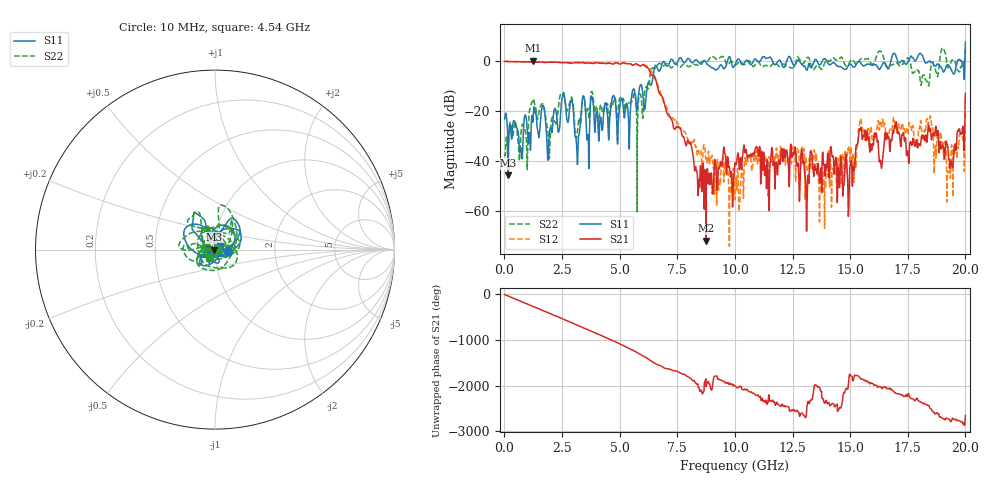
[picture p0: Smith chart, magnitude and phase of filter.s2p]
! .\\filter.s2p
! written by LeCroy Virtual Probe(tm)
! freq S11 S21
! S12 S22
# MHz S MA R 50.00
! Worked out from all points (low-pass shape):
!   2000 points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, 10 MHz to 20 GHz, reference 50 ohm
!   highest |S21| = 0.32 dB at 1.25 GHz (marker M1); lowest = -71.8 dB at 8.75 GHz (marker M2)
!   |S21| within 3 dB of the highest: start of sweep to 6.229 GHz
!   lowest |S11| = -45.6 dB at 170 MHz (marker M3), VSWR 1.01, Z = 49.5 + j0.0281 ohm
!   |S11| at or under -10 dB: start of sweep to 5.875 GHz; 5.962 GHz to 6.198 GHz (236.5 MHz wide, 3.89 % of centre)
!   |S22| runs from -60.2 to 8.4 dB; largest |S21 - S12| = 0.18
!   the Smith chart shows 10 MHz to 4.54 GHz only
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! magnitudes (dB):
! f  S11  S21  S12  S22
! 10 MHz  -23.1  0.0  0.0  -37.1
! 170 MHz  -45.6  -0.1  -0.1  -33.6
! 950 MHz  -22.7  -0.2  -0.2  -30.7
! 1.25 GHz  -22.3  0.3  0.5  -15.1
! 1.93 GHz  -31.7  -0.4  -0.3  -35.2
! 2.56 GHz  -12.4  -0.5  -0.4  -13.0
! 3.16 GHz  -39.2  -0.5  -0.5  -28.7
! 3.35 GHz  -18.0  -0.5  -0.4  -19.4
! 5.8 GHz  -15.1  -1.4  -1.3  -18.0
! 6.68 GHz  -3.7  -11.6  -10.1  -1.1
! 8.75 GHz  -0.4  -71.8  -38.7  0.0
! 10.01 GHz  -1.3  -40.6  -53.6  -1.4
! 12.51 GHz  -1.0  -37.1  -34.1  -2.6
! 13.12 GHz  -3.5  -61.0  -42.0  1.3
! 13.34 GHz  -2.3  -37.2  -38.4  -2.6
! 13.85 GHz  0.9  -41.3  -43.5  -1.7
! 15 GHz  -1.2  -41.5  -38.7  0.1
! 15.42 GHz  -0.1  -27.3  -24.5  0.6
! 16.67 GHz  -2.8  -30.2  -29.4  -1.8
! 18.42 GHz  0.0  -26.4  -24.0  -9.2
! 19.38 GHz  -3.1  -39.9  -35.4  -0.1
! 20 GHz  5.6  -12.8  -20.4  8.4
